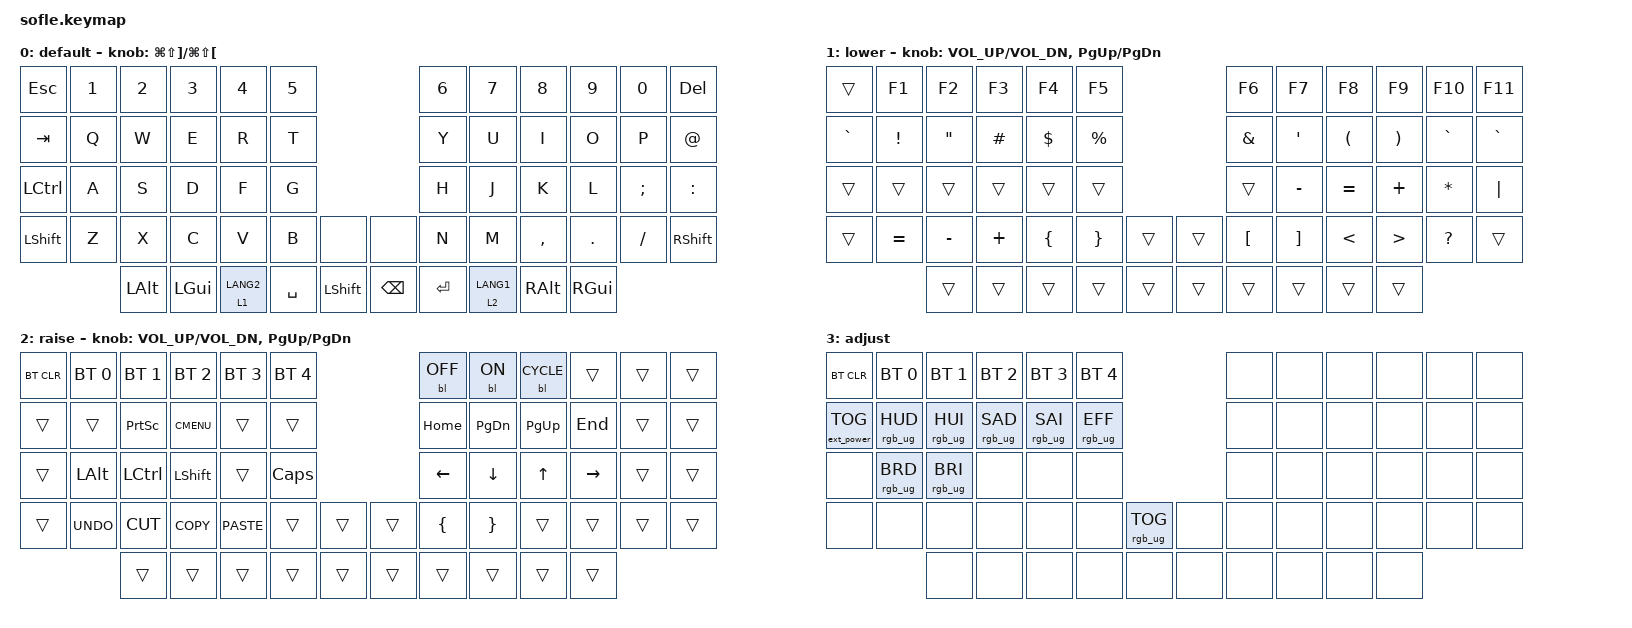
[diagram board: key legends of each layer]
/*
 * Copyright (c) 2020 The ZMK Contributors
 *
 * SPDX-License-Identifier: MIT
 */

#include <behaviors.dtsi>
#include <dt-bindings/zmk/backlight.h>
#include <dt-bindings/zmk/bt.h>
#include <dt-bindings/zmk/ext_power.h>
#include <dt-bindings/zmk/keys.h>
#include <dt-bindings/zmk/rgb.h>

#define BASE 0
#define LOWER 1
#define RAISE 2
#define ADJUST 3

/ {
    // Activate ADJUST layer by pressing raise and lower

    conditional_layers {
        compatible = "zmk,conditional-layers";

        adjust_layer {
            if-layers = <LOWER RAISE>;
            then-layer = <ADJUST>;
        };
    };

    keymap {
        compatible = "zmk,keymap";

        default_layer {
            display-name = "default";

            // ------------------------------------------------------------------------------------------------------------
            // |   `   |  1  |  2  |  3   |  4   |  5   |                   |  6   |  7    |  8    |  9   |   0   |       |
            // |  ESC  |  Q  |  W  |  E   |  R   |  T   |                   |  Y   |  U    |  I    |  O   |   P   | BKSPC |
            // |  TAB  |  A  |  S  |  D   |  F   |  G   |                   |  H   |  J    |  K    |  L   |   ;   |   '   |
            // | SHIFT |  Z  |  X  |  C   |  V   |  B   |  MUTE  |  |       |  N   |  M    |  ,    |  .   |   /   | SHIFT |
            //               | GUI | ALT  | CTRL | LOWER|  ENTER |  | SPACE | RAISE| CTRL  | ALT   | GUI  |

            bindings = <
&kp ESC    &kp N1  &kp N2    &kp N3        &kp N4       &kp N5                                      &kp N6     &kp N7       &kp N8     &kp N9    &kp N0    &kp DEL
&kp TAB    &kp Q   &kp W     &kp E         &kp R        &kp T                                       &kp Y      &kp U        &kp I      &kp O     &kp P     &kp AT
&kp LCTRL  &kp A   &kp S     &kp D         &kp F        &kp G                                       &kp H      &kp J        &kp K      &kp L     &kp SEMI  &kp COLON
&kp LSHFT  &kp Z   &kp X     &kp C         &kp V        &kp B      &none             &none          &kp N      &kp M        &kp COMMA  &kp DOT   &kp FSLH  &kp RSHFT
                   &kp LALT  &kp LEFT_GUI  &lt 1 LANG2  &kp SPACE  &kp LEFT_SHIFT    &kp BACKSPACE  &kp ENTER  &lt 2 LANG1  &kp RALT   &kp RGUI
            >;

            sensor-bindings = <&inc_dec_kp LG(LS(RIGHT_BRACKET)) LG(LS(LEFT_BRACKET))>;
        };

        lower_layer {
            display-name = "lower";

            // TODO: Some binds are waiting for shifted keycode support.
            // ------------------------------------------------------------------------------------------------------------
            // |       |  F1 |  F2 |  F3  |  F4  |  F5  |                   |  F6  |  F7   |  F8   |  F9  |  F10  |  F11  |
            // |   `   |  1  |  2  |  3   |  4   |  5   |                   |  6   |  7    |  8    |  9   |   0   |  F12  |
            // |       |  !  |  @  |  #   |  $   |  %   |                   |  ^   |  &    |  *    |  (   |   )   |   |   |
            // |       |  =  |  -  |  +   |  {   |  }   |        |  |       |  [   |  ]    |  ;    |  :   |   \   |       |
            //               |     |      |      |      |        |  |       |      |       |       |      |

            bindings = <
&trans     &kp F1     &kp F2             &kp F3    &kp F4      &kp F5                         &kp F6            &kp F7             &kp F8     &kp F9    &kp F10       &kp F11
&kp GRAVE  &kp EXCL   &kp DOUBLE_QUOTES  &kp HASH  &kp DOLLAR  &kp PERCENT                    &kp AMPS          &kp SINGLE_QUOTE   &kp LPAR   &kp RPAR  &kp GRAVE     &kp GRAVE
&trans     &trans     &trans             &trans    &trans      &trans                         &trans            &kp MINUS          &kp EQUAL  &kp PLUS  &kp ASTERISK  &kp PIPE
&trans     &kp EQUAL  &kp MINUS          &kp PLUS  &kp LBRC    &kp RBRC     &trans    &trans  &kp LEFT_BRACKET  &kp RIGHT_BRACKET  &kp LT     &kp GT    &kp QMARK     &trans
                      &trans             &trans    &trans      &trans       &trans    &trans  &trans            &trans             &trans     &trans
            >;

            sensor-bindings = <&inc_dec_kp C_VOL_UP C_VOL_DN &inc_dec_kp PG_UP PG_DN>;
        };

        raise_layer {
            display-name = "raise";

            // ------------------------------------------------------------------------------------------------------------
            // | BTCLR | BT1  | BT2  |  BT3  |  BT4  |  BT5 |                |      |      |       |      |       |       |
            // |       | INS  | PSCR | GUI   |       |      |                | PGUP |      |   ^   |      |       |       |
            // |       | ALT  | CTRL | SHIFT |       | CAPS |                | PGDN |   <- |   v   |  ->  |  DEL  | BKSPC |
            // |       | UNDO | CUT  | COPY  | PASTE |      |      |  |      |      |      |       |      |       |       |
            //                |      |       |       |      |      |  |      |      |      |       |      |

            bindings = <
&bt BT_CLR  &bt BT_SEL 0  &bt BT_SEL 1  &bt BT_SEL 2  &bt BT_SEL 3  &bt BT_SEL 4                    &bl BL_OFF  &bl BL_ON      &bl BL_CYCLE  &trans     &trans  &trans
&trans      &trans        &kp PSCRN     &kp K_CMENU   &trans        &trans                          &kp HOME    &kp PAGE_DOWN  &kp PAGE_UP   &kp END    &trans  &trans
&trans      &kp LALT      &kp LCTRL     &kp LSHFT     &trans        &kp CLCK                        &kp LEFT    &kp DOWN       &kp UP        &kp RIGHT  &trans  &trans
&trans      &kp K_UNDO    &kp K_CUT     &kp K_COPY    &kp K_PASTE   &trans        &trans    &trans  &kp LBRC    &kp RBRC       &trans        &trans     &trans  &trans
                          &trans        &trans        &trans        &trans        &trans    &trans  &trans      &trans         &trans        &trans
            >;

            sensor-bindings = <&inc_dec_kp C_VOL_UP C_VOL_DN &inc_dec_kp PG_UP PG_DN>;
        };

        adjust_layer {
            // ----------------------------------------------------------------------------------------------------------------------------
            // | BTCLR  |  BT1    |  BT2    |   BT3   |   BT4   |   BT5   |                  |      |      |       |      |       |       |
            // | EXTPWR | RGB_HUD | RGB_HUI | RGB_SAD | RGB_SAI | RGB_EFF |                  |      |      |       |      |       |       |
            // |        | RGB_BRD | RGB_BRI |         |         |         |                  |      |      |       |      |       |       |
            // |        |         |         |         |         |         | RGB_TOG | |      |      |      |       |      |       |       |
            //                    |         |         |         |         |         | |      |      |      |       |      |

            display-name = "adjust";
            bindings = <
&bt BT_CLR         &bt BT_SEL 0     &bt BT_SEL 1     &bt BT_SEL 2     &bt BT_SEL 3     &bt BT_SEL 4                               &none  &none  &none  &none  &none  &none
&ext_power EP_TOG  &rgb_ug RGB_HUD  &rgb_ug RGB_HUI  &rgb_ug RGB_SAD  &rgb_ug RGB_SAI  &rgb_ug RGB_EFF                            &none  &none  &none  &none  &none  &none
&none              &rgb_ug RGB_BRD  &rgb_ug RGB_BRI  &none            &none            &none                                      &none  &none  &none  &none  &none  &none
&none              &none            &none            &none            &none            &none            &rgb_ug RGB_TOG    &none  &none  &none  &none  &none  &none  &none
                                    &none            &none            &none            &none            &none              &none  &none  &none  &none  &none
            >;
        };
    };
};
